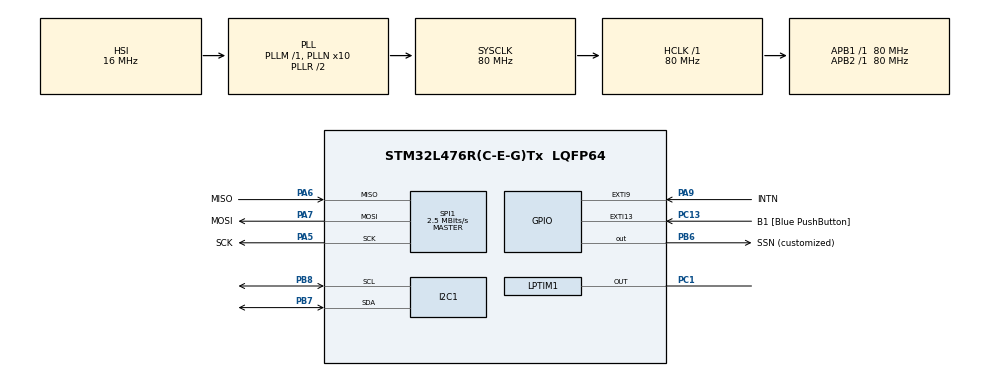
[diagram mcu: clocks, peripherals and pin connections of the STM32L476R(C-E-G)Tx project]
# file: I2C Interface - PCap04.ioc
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I2C1.Timing=0x10909CEC
LPTIM1.ClockPrescaler=LPTIM_PRESCALER_DIV1
LPTIM1.UpdateMode=LPTIM_UPDATE_IMMEDIATE
Mcu.Family=STM32L4
Mcu.Name=STM32L476R(C-E-G)Tx
Mcu.Package=LQFP64
NVIC.EXTI9_5_IRQn=true\:0\:0\:false\:false\:true\:true\:true
NVIC.PriorityGroup=NVIC_PRIORITYGROUP_4
PA13\ (JTMS-SWDIO).GPIO_Label=TMS
PA13\ (JTMS-SWDIO).Mode=Serial_Wire
PA13\ (JTMS-SWDIO).Signal=SYS_JTMS-SWDIO
PA14\ (JTCK-SWCLK).GPIO_Label=TCK
PA14\ (JTCK-SWCLK).Mode=Serial_Wire
PA14\ (JTCK-SWCLK).Signal=SYS_JTCK-SWCLK
PA2.GPIO_Label=USART_TX
PA2.GPIO_Mode=GPIO_MODE_AF_PP
PA2.GPIO_PuPd=GPIO_NOPULL
PA2.GPIO_Speed=GPIO_SPEED_FREQ_VERY_HIGH
PA2.Signal=USART2_TX
PA3.GPIO_Label=USART_RX
PA3.GPIO_Mode=GPIO_MODE_AF_PP
PA3.GPIO_PuPd=GPIO_NOPULL
PA3.GPIO_Speed=GPIO_SPEED_FREQ_VERY_HIGH
PA3.Signal=USART2_RX
PA5.GPIO_Label=SCK
PA5.GPIO_PuPd=GPIO_NOPULL
PA5.GPIO_Speed=GPIO_SPEED_FREQ_VERY_HIGH
PA5.Mode=Full_Duplex_Master
PA5.Signal=SPI1_SCK
PA6.GPIO_Label=MISO
PA6.Mode=Full_Duplex_Master
PA6.Signal=SPI1_MISO
PA7.GPIO_Label=MOSI
PA7.Mode=Full_Duplex_Master
PA7.Signal=SPI1_MOSI
PA9.GPIO_Label=INTN
PA9.GPIO_ModeDefaultEXTI=GPIO_MODE_IT_FALLING
PA9.Signal=GPXTI9
PB3\ (JTDO-TRACESWO).GPIO_Label=SWO
PB3\ (JTDO-TRACESWO).Signal=SYS_JTDO-SWO
PB6.GPIO_FM6=__NULL
PB6.GPIO_Label=SSN (customized)
PB6.GPIO_PuPd=GPIO_PULLUP
PB6.GPIO_Speed=GPIO_SPEED_FREQ_VERY_HIGH
PB6.Signal=GPIO_Output
PB7.GPIO_PuPdOD=GPIO_PULLUP
PB7.GPIO_Speed=GPIO_SPEED_FREQ_HIGH
PB7.Mode=I2C
PB7.Signal=I2C1_SDA
PB8.GPIO_PuPdOD=GPIO_PULLUP
PB8.GPIO_Speed=GPIO_SPEED_FREQ_HIGH
PB8.Mode=I2C
PB8.Signal=I2C1_SCL
PC1.GPIO_PuPd=GPIO_NOPULL
PC1.Mode=WaveformGeneration
PC1.Signal=LPTIM1_OUT
PC13.GPIO_Label=B1 [Blue PushButton]
PC13.GPIO_ModeDefaultEXTI=GPIO_MODE_IT_FALLING
PC13.GPIO_PuPd=GPIO_NOPULL
PC13.Signal=GPXTI13
PC14-OSC32_IN\ (PC14).Mode=LSE-External-Oscillator
PC14-OSC32_IN\ (PC14).Signal=RCC_OSC32_IN
PC15-OSC32_OUT\ (PC15).Mode=LSE-External-Oscillator
PC15-OSC32_OUT\ (PC15).Signal=RCC_OSC32_OUT
PH0-OSC_IN\ (PH0).Signal=RCC_OSC_IN
PH1-OSC_OUT\ (PH1).Signal=RCC_OSC_OUT
ProjectManager.HeapSize=0x200
ProjectManager.StackSize=0x400
ProjectManager.TargetToolchain=STM32CubeIDE
RCC.ADCFreq_Value=64000000
RCC.AHBFreq_Value=80000000
RCC.APB1Freq_Value=80000000
RCC.APB1TimFreq_Value=80000000
RCC.APB2Freq_Value=80000000
RCC.APB2TimFreq_Value=80000000
RCC.CortexFreq_Value=80000000
RCC.HCLKFreq_Value=80000000
RCC.HSE_VALUE=8000000
RCC.HSI_VALUE=16000000
RCC.MSI_VALUE=4000000
RCC.PLLN=10
RCC.PLLSourceVirtual=RCC_PLLSOURCE_HSI
RCC.PREFETCH_ENABLE=1
RCC.SYSCLKFreq_VALUE=80000000
RCC.SYSCLKSource=RCC_SYSCLKSOURCE_PLLCLK
RCC.USBFreq_Value=64000000
RCC.VCOOutputFreq_Value=160000000
SPI1.BaudRatePrescaler=SPI_BAUDRATEPRESCALER_32
SPI1.CLKPhase=SPI_PHASE_2EDGE
SPI1.CalculateBaudRate=2.5 MBits/s
SPI1.DataSize=SPI_DATASIZE_8BIT
SPI1.Direction=SPI_DIRECTION_2LINES
SPI1.Mode=SPI_MODE_MASTER
SPI1.TIMode=SPI_TIMODE_DISABLE
SPI1.VirtualType=VM_MASTER
VP_LPTIM1_VS_LPTIM_counterModeInternalClock.Mode=Counts__internal_clock_event_00
board=NUCLEO-L476RG

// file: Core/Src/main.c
/* USER CODE BEGIN Header */
/**
  ******************************************************************************
  * @file           : main.c
  * @brief          : Main program body
  ******************************************************************************
  * @attention
  *
  * <h2><center>&copy; Copyright (c) 2020 STMicroelectronics.
  * All rights reserved.</center></h2>
  *
  * This software component is licensed by ST under BSD 3-Clause license,
  * the "License"; You may not use this file except in compliance with the
  * License. You may obtain a copy of the License at:
  *                        opensource.org/licenses/BSD-3-Clause
  *
  ******************************************************************************
  */
/* USER CODE END Header */

#include "main.h"

/* USER CODE BEGIN Includes */
#include "user_i2c_interface.h"

/* USER CODE END Includes */

/* USER CODE BEGIN PD */
#define WR_MEM 		0xA0
#define RD_MEM 		0x20
#define WR_CONFIG 	0xA3C0	//byte wise
#define RD_CONFIG 	0x23C0	//byte wise
#define RD_RESULT 	0x40

#define POR 		0x88
#define INIT 		0x8A
#define CDC_START 	0x8C
#define RDC_START 	0x8E
#define DSP_TRIG 	0x8D
#define NV_STORE 	0x96
#define NV_RECALL 	0x99
#define NV_ERASE 	0x9C
#define TEST_READ 	0x7E
/* USER CODE END PD */

I2C_HandleTypeDef hi2c1;

LPTIM_HandleTypeDef hlptim1;

SPI_HandleTypeDef hspi1;

/* USER CODE BEGIN PV */

HAL_StatusTypeDef ret = HAL_OK;

volatile uint16_t dev_addr = 0x50;
volatile uint32_t MyResult = 0;
volatile uint32_t MyRES0 = 0;
volatile uint32_t MyRES1 = 0;
volatile uint32_t MyRES2 = 0;

uint32_t My_i2c_timeout = 10;
uint8_t My_buf[256] = {0x99,0x22};
uint32_t My_ratio = 0;

uint32_t bending_cfg[13] = {
		0x1038111D,
		0x08110CA0,
		0x0007D000,
		0x04000427,
		0x00005427,
		0x340BFF00,
		0x08520077,
		0x0881005A,
		0x40470008,
		0x71000000,
		0x00080000,
		0x01000000,
		0x00000000

};

//read triggered configuration
uint8_t bending_cfg_bytewise[52] = {
		0x1D, 0x11, 0x38, 0x10,
		0xA0, 0x0C, 0x11, 0x08,
		0x00, 0xD0, 0x07, 0x00,
		0x27, 0x04, 0x00, 0x04,
		0x27, 0x54, 0x00, 0x00,
		0x00, 0xFF, 0x0B, 0x34,
		0x77, 0x00, 0x52, 0x08,
		0x5A, 0x00, 0x81, 0x08,
		0x08, 0x00, 0x47, 0x40,
		0x00, 0x00, 0x00, 0x71,
		0x00, 0x00, 0x08, 0x00,
		0x00, 0x00, 0x00, 0x01,
		0x00, 0x00, 0x00, 0x00
};

uint8_t standard_cfg_bytewise[52] = {
		0x1D, 0x00, 0x58, 0x10,
		0x10, 0x00, 0x0F, 0x20,
		0x00, 0xD0, 0x07, 0x00,
		0x00, 0x08, 0xFF, 0x03,
		0x00, 0x24, 0x00, 0x00,
		0x00, 0x01, 0x50, 0x30,
		0x73, 0x04, 0x50, 0x08,
		0x5A, 0x00, 0x82, 0x08,
		0x08, 0x00, 0x47, 0x40,
		0x00, 0x00, 0x00, 0x71,
		0x00, 0x00, 0x08, 0x00,
		0x00, 0x00, 0x00, 0x01,
		0x00, 0x00, 0x00, 0x00
};

uint8_t bending_fw[167] = {
		0x24, 0x05, 0x7A, 0xC3, 0xFF, 0xE6, 0x43, 0x7A, 0xE0, 0x34, 0x00, 0x7A, 0xE7, 0x43, 0x41, 0xA0,
		0x01, 0x20, 0x80, 0x7A, 0xD8, 0x41, 0x7A, 0xE1, 0x45, 0x7A, 0xDC, 0x41, 0x7A, 0xE2, 0x45, 0x7A,
		0xDE, 0x41, 0x20, 0x95, 0x7A, 0xE3, 0x45, 0x7A, 0xD8, 0x41, 0x7A, 0xDE, 0x52, 0x7A, 0xE4, 0x45,
		0x7A, 0xDC, 0x41, 0x7A, 0xDE, 0x52, 0x7A, 0xE5, 0x45, 0x7A, 0xD8, 0x41, 0x7A, 0xDE, 0x5A, 0x7A,
		0xE4, 0x7A, 0xE6, 0x45, 0x7A, 0xDC, 0x41, 0x7A, 0xDE, 0x5A, 0x7A, 0xE7, 0x45, 0x7A, 0xD8, 0x41,
		0x7A, 0xDC, 0x5A, 0x7A, 0xE8, 0x45, 0xC1, 0xD8, 0x24, 0x3E, 0x84, 0x2C, 0x7A, 0xD4, 0x43, 0x7A,
		0xE5, 0x44, 0x7A, 0xD5, 0x43, 0x7A, 0xE6, 0x44, 0x7A, 0xD6, 0x43, 0x7A, 0xE7, 0x44, 0x7A, 0xD7,
		0x43, 0x7A, 0xE8, 0x44, 0xC1, 0xD4, 0x24, 0x57, 0x7A, 0xC8, 0xE1, 0x43, 0xE0, 0x3A, 0x92, 0x08,
		0x7A, 0xC0, 0xE1, 0x43, 0x7A, 0xE0, 0x3A, 0x02, 0x01, 0x90, 0x00, 0x7F, 0x66, 0x67, 0x76, 0x77,
		0x66, 0x99, 0xFD, 0x7B, 0x01, 0xC0, 0xCF, 0xDF, 0x27, 0x0C, 0x6A, 0xCE, 0x41, 0x6A, 0xCF, 0x52,
		0x52, 0x6A, 0xD0, 0x52, 0x47, 0x47, 0x02
};

uint8_t standard_fw[548] = {
		0x24, 0x05, 0xA0, 0x01, 0x20, 0x55, 0x42, 0x5C, 0x48, 0xB1, 0x07, 0x92, 0x02, 0x20, 0x13, 0x02,
		0x20, 0x93, 0x02, 0xB2, 0x02, 0x78, 0x20, 0x54, 0xB3, 0x06, 0x91, 0x00, 0x7F, 0x20, 0x86, 0x20,
		0x54, 0xB6, 0x03, 0x72, 0x62, 0x20, 0x54, 0xB7, 0x00, 0x00, 0x42, 0x5C, 0xA1, 0x00, 0x49, 0xB0,
		0x00, 0x49, 0x40, 0xAB, 0x5D, 0x92, 0x1C, 0x90, 0x02, 0x7F, 0x20, 0x86, 0x66, 0x67, 0x76, 0x77,
		0x66, 0x7A, 0xCF, 0xCD, 0xE6, 0x43, 0xF1, 0x44, 0x29, 0xE0, 0x7A, 0xDC, 0xE7, 0x41, 0x32, 0xAA,
		0x01, 0x99, 0xFD, 0x7B, 0x01, 0x7A, 0xCF, 0xEB, 0xE6, 0x43, 0xF1, 0x44, 0x29, 0xE0, 0x7A, 0xC1,
		0xE7, 0x41, 0x32, 0x6A, 0xDE, 0x44, 0x7A, 0xCF, 0xEA, 0xE6, 0x43, 0xF1, 0x44, 0x29, 0xE0, 0x6A,
		0xDF, 0x44, 0x7A, 0xC4, 0xE7, 0x41, 0x32, 0xAB, 0x05, 0x7A, 0xC1, 0xE1, 0x43, 0xE0, 0x3A, 0x7A,
		0xC0, 0xE1, 0x43, 0xE0, 0x3A, 0x02, 0x7A, 0xCF, 0xE6, 0xE6, 0x43, 0xF1, 0x44, 0x29, 0xE0, 0x7A,
		0xEF, 0x44, 0x02, 0x20, 0x9D, 0x84, 0x01, 0x21, 0x2E, 0x21, 0x74, 0x20, 0x37, 0xC8, 0x7A, 0xE7,
		0x43, 0x49, 0x11, 0x6A, 0xD4, 0x44, 0x7A, 0xC1, 0xD8, 0xE6, 0x43, 0xE9, 0x44, 0x1C, 0x43, 0x13,
		0xAB, 0x63, 0x6A, 0xDE, 0x41, 0xAB, 0x0B, 0x46, 0x46, 0x46, 0x7A, 0xDF, 0xFF, 0xFF, 0xFF, 0xFF,
		0xE3, 0x41, 0x32, 0x1C, 0x44, 0xE9, 0x13, 0x6A, 0xD4, 0x13, 0x41, 0xAA, 0xDF, 0x7A, 0xC5, 0xE1,
		0x43, 0x49, 0xE0, 0x34, 0x7A, 0xCF, 0xE3, 0xE6, 0x43, 0xF1, 0x44, 0x29, 0xE0, 0xDB, 0xC0, 0x27,
		0xE5, 0x6A, 0xDF, 0x43, 0x7A, 0xC8, 0xE7, 0x41, 0x30, 0xAB, 0x03, 0x86, 0x01, 0x92, 0x37, 0x7A,
		0xC6, 0xE7, 0x41, 0x7A, 0xFA, 0xE7, 0x43, 0xEA, 0x44, 0x7A, 0xC1, 0xE1, 0xE6, 0x43, 0xE9, 0x44,
		0x25, 0xE0, 0x7A, 0xC6, 0xE7, 0x41, 0x7A, 0xFA, 0xE7, 0x43, 0xEA, 0x44, 0x7A, 0xC0, 0xE7, 0x43,
		0xE9, 0x44, 0x25, 0xE0, 0x92, 0x10, 0x7A, 0xE1, 0x44, 0xE2, 0x44, 0xE3, 0x44, 0xE4, 0x44, 0xE5,
		0x44, 0xE6, 0x44, 0xE7, 0x44, 0xE8, 0x44, 0xC1, 0xD8, 0x24, 0x3E, 0x92, 0xFF, 0x02, 0x7A, 0xCF,
		0xD7, 0xE6, 0x43, 0xF1, 0x44, 0x7A, 0xD0, 0xE7, 0x43, 0x2A, 0x2A, 0x32, 0xAB, 0x03, 0x42, 0x5C,
		0x92, 0x03, 0x7A, 0xC0, 0xE1, 0x43, 0xD9, 0x27, 0x90, 0x6A, 0xDF, 0x43, 0x7A, 0xC8, 0xE7, 0x41,
		0x32, 0xAB, 0x03, 0x86, 0x01, 0x92, 0x11, 0x7A, 0xC2, 0x43, 0x7A, 0xE7, 0x44, 0x6A, 0xC6, 0x44,
		0x7A, 0xC3, 0x43, 0x7A, 0xE8, 0x44, 0x6A, 0xC7, 0x44, 0xC1, 0xD4, 0x24, 0x57, 0x7A, 0xC8, 0xE1,
		0x43, 0xE0, 0x3A, 0x02, 0x7A, 0xCF, 0xE7, 0xE6, 0x43, 0xF1, 0x44, 0x29, 0xE0, 0x7A, 0xC7, 0xE1,
		0x41, 0x6A, 0xD4, 0x45, 0x5A, 0x25, 0x36, 0x46, 0x46, 0x46, 0x46, 0x7A, 0xE9, 0x44, 0x7A, 0xC0,
		0xE7, 0x43, 0x55, 0x7A, 0xEA, 0x45, 0x7A, 0xE9, 0x51, 0x1C, 0x43, 0x6A, 0xCA, 0x44, 0x1D, 0x43,
		0x6A, 0xCB, 0x44, 0x7A, 0xC1, 0xCA, 0xE6, 0x43, 0xE9, 0x44, 0x7A, 0xC1, 0xE1, 0x43, 0x7A, 0xCC,
		0xE0, 0xE6, 0x41, 0x2C, 0x42, 0x7A, 0xC5, 0xE1, 0x43, 0x49, 0xE0, 0x34, 0x7A, 0xC1, 0xCC, 0xE6,
		0x43, 0xE9, 0x44, 0x7A, 0xC1, 0xE1, 0x43, 0x2C, 0x70, 0x7A, 0xCC, 0x43, 0x7A, 0xCF, 0x44, 0x7A,
		0xCD, 0x43, 0x7A, 0xCE, 0x44, 0x6A, 0xCA, 0x43, 0xC1, 0xCA, 0x7A, 0xE6, 0x41, 0xE9, 0x45, 0x2B,
		0xAE, 0xEE, 0x44, 0x7A, 0xC1, 0xCA, 0xE6, 0x43, 0xE9, 0x44, 0x7A, 0xC1, 0xE1, 0x43, 0x7A, 0xCC,
		0xEC, 0xE6, 0x41, 0x2C, 0x42, 0x7A, 0xC5, 0xE1, 0x43, 0x49, 0xE0, 0x34, 0x7A, 0xC1, 0xCC, 0xE6,
		0x43, 0xE9, 0x44, 0x7A, 0xC1, 0xE1, 0x43, 0x2C, 0x70, 0x7A, 0xCC, 0x43, 0x7A, 0xCF, 0x44, 0x7A,
		0xCD, 0x43, 0x7A, 0xCE, 0x44, 0x6A, 0xCB, 0x43, 0xC1, 0xCA, 0x7A, 0xE6, 0x41, 0xE9, 0x45, 0x2B,
		0xAE, 0xED, 0x44, 0x02
};

/* USER CODE END PV */

void SystemClock_Config(void);
static void MX_GPIO_Init(void);
static void MX_SPI1_Init(void);
static void MX_LPTIM1_Init(void);
static void MX_I2C1_Init(void);

int main(void)
{

  /* MCU Configuration--------------------------------------------------------*/

  /* Reset of all peripherals, Initializes the Flash interface and the Systick. */
  HAL_Init();

  /* Configure the system clock */
  SystemClock_Config();

  /* Initialize all configured peripherals */
  MX_GPIO_Init();
  MX_SPI1_Init();
  MX_LPTIM1_Init();
  MX_I2C1_Init();
  /* USER CODE BEGIN 2 */

  // Test I2C Communication Interface by sending Test Opcode
  ret = I2C_Write_Opcode(dev_addr, TEST_READ);
  ret = HAL_I2C_Master_Receive(&hi2c1, dev_addr, My_buf, 1, 1);

  // POR + INIT
  ret = I2C_Write_Opcode(dev_addr, POR);
  HAL_Delay(500);
  ret = I2C_Write_Opcode(dev_addr, INIT);

  // write firmware (10x 16 Bytes plus 7 Bytes)
  //ret = I2C_Memory_Access(dev_addr, WR_MEM, 0x00, bending_fw, 167);
  ret = I2C_Memory_Access(dev_addr, WR_MEM, 0x00, standard_fw, 548);

  ret = I2C_Memory_Access(dev_addr, RD_MEM, 0x00, My_buf, 167);

  // write configuration (52 Bytes)
 // ret = I2C_Config_Access(dev_addr, WR_CONFIG, 0x00, bending_cfg_bytewise, 52);
  ret = I2C_Config_Access(dev_addr, WR_CONFIG, 0x00, standard_cfg_bytewise, 52);

  //deactivate PC input ports
  //ret = I2C_Config_Access(dev_addr, WR_CONFIG, 0x06, 0x00, 1);

  ret = I2C_Config_Access(dev_addr, RD_CONFIG, 0x00, My_buf, 52);

  ret = I2C_Write_Opcode(dev_addr, INIT);

  // start CDC measurement
  ret = I2C_Write_Opcode(dev_addr, 0x8C);

  /* USER CODE END 2 */

  /* Infinite loop */
  while (1)
  {

    /* USER CODE BEGIN 3 */

	// read result register
	MyRES0 = I2C_Read_Result(dev_addr, 0x40, 0x00);
	MyRES1 = I2C_Read_Result(dev_addr, 0x40, 0x01);

	//internal Reference at RES2
	MyResult = I2C_Read_Result(dev_addr, 0x40, 0x02);

	HAL_Delay(20);

  }
  /* USER CODE END 3 */
}

void SystemClock_Config(void)
{
  RCC_OscInitTypeDef RCC_OscInitStruct = {0};
  RCC_ClkInitTypeDef RCC_ClkInitStruct = {0};
  RCC_PeriphCLKInitTypeDef PeriphClkInit = {0};

  /** Initializes the CPU, AHB and APB busses clocks
  */
  RCC_OscInitStruct.OscillatorType = RCC_OSCILLATORTYPE_HSI;
  RCC_OscInitStruct.HSIState = RCC_HSI_ON;
  RCC_OscInitStruct.HSICalibrationValue = RCC_HSICALIBRATION_DEFAULT;
  RCC_OscInitStruct.PLL.PLLState = RCC_PLL_ON;
  RCC_OscInitStruct.PLL.PLLSource = RCC_PLLSOURCE_HSI;
  RCC_OscInitStruct.PLL.PLLM = 1;
  RCC_OscInitStruct.PLL.PLLN = 10;
  RCC_OscInitStruct.PLL.PLLP = RCC_PLLP_DIV7;
  RCC_OscInitStruct.PLL.PLLQ = RCC_PLLQ_DIV2;
  RCC_OscInitStruct.PLL.PLLR = RCC_PLLR_DIV2;
  if (HAL_RCC_OscConfig(&RCC_OscInitStruct) != HAL_OK)
  {
    Error_Handler();
  }
  /** Initializes the CPU, AHB and APB busses clocks
  */
  RCC_ClkInitStruct.ClockType = RCC_CLOCKTYPE_HCLK|RCC_CLOCKTYPE_SYSCLK
                              |RCC_CLOCKTYPE_PCLK1|RCC_CLOCKTYPE_PCLK2;
  RCC_ClkInitStruct.SYSCLKSource = RCC_SYSCLKSOURCE_PLLCLK;
  RCC_ClkInitStruct.AHBCLKDivider = RCC_SYSCLK_DIV1;
  RCC_ClkInitStruct.APB1CLKDivider = RCC_HCLK_DIV1;
  RCC_ClkInitStruct.APB2CLKDivider = RCC_HCLK_DIV1;

  if (HAL_RCC_ClockConfig(&RCC_ClkInitStruct, FLASH_LATENCY_4) != HAL_OK)
  {
    Error_Handler();
  }
  PeriphClkInit.PeriphClockSelection = RCC_PERIPHCLK_LPTIM1|RCC_PERIPHCLK_I2C1;
  PeriphClkInit.I2c1ClockSelection = RCC_I2C1CLKSOURCE_PCLK1;
  PeriphClkInit.Lptim1ClockSelection = RCC_LPTIM1CLKSOURCE_PCLK;
  if (HAL_RCCEx_PeriphCLKConfig(&PeriphClkInit) != HAL_OK)
  {
    Error_Handler();
  }
  /** Configure the main internal regulator output voltage
  */
  if (HAL_PWREx_ControlVoltageScaling(PWR_REGULATOR_VOLTAGE_SCALE1) != HAL_OK)
  {
    Error_Handler();
  }
}

static void MX_I2C1_Init(void)
{

  hi2c1.Instance = I2C1;
  hi2c1.Init.Timing = 0x10909CEC;
  hi2c1.Init.OwnAddress1 = 0;
  hi2c1.Init.AddressingMode = I2C_ADDRESSINGMODE_7BIT;
  hi2c1.Init.DualAddressMode = I2C_DUALADDRESS_DISABLE;
  hi2c1.Init.OwnAddress2 = 0;
  hi2c1.Init.OwnAddress2Masks = I2C_OA2_NOMASK;
  hi2c1.Init.GeneralCallMode = I2C_GENERALCALL_DISABLE;
  hi2c1.Init.NoStretchMode = I2C_NOSTRETCH_DISABLE;
  if (HAL_I2C_Init(&hi2c1) != HAL_OK)
  {
    Error_Handler();
  }
  /** Configure Analogue filter
  */
  if (HAL_I2CEx_ConfigAnalogFilter(&hi2c1, I2C_ANALOGFILTER_ENABLE) != HAL_OK)
  {
    Error_Handler();
  }
  /** Configure Digital filter
  */
  if (HAL_I2CEx_ConfigDigitalFilter(&hi2c1, 0) != HAL_OK)
  {
    Error_Handler();
  }

}

static void MX_LPTIM1_Init(void)
{

  hlptim1.Instance = LPTIM1;
  hlptim1.Init.Clock.Source = LPTIM_CLOCKSOURCE_APBCLOCK_LPOSC;
  hlptim1.Init.Clock.Prescaler = LPTIM_PRESCALER_DIV1;
  hlptim1.Init.Trigger.Source = LPTIM_TRIGSOURCE_SOFTWARE;
  hlptim1.Init.OutputPolarity = LPTIM_OUTPUTPOLARITY_HIGH;
  hlptim1.Init.UpdateMode = LPTIM_UPDATE_IMMEDIATE;
  hlptim1.Init.CounterSource = LPTIM_COUNTERSOURCE_INTERNAL;
  hlptim1.Init.Input1Source = LPTIM_INPUT1SOURCE_GPIO;
  hlptim1.Init.Input2Source = LPTIM_INPUT2SOURCE_GPIO;
  if (HAL_LPTIM_Init(&hlptim1) != HAL_OK)
  {
    Error_Handler();
  }

}

static void MX_SPI1_Init(void)
{

  /* SPI1 parameter configuration*/
  hspi1.Instance = SPI1;
  hspi1.Init.Mode = SPI_MODE_MASTER;
  hspi1.Init.Direction = SPI_DIRECTION_2LINES;
  hspi1.Init.DataSize = SPI_DATASIZE_8BIT;
  hspi1.Init.CLKPolarity = SPI_POLARITY_LOW;
  hspi1.Init.CLKPhase = SPI_PHASE_2EDGE;
  hspi1.Init.NSS = SPI_NSS_SOFT;
  hspi1.Init.BaudRatePrescaler = SPI_BAUDRATEPRESCALER_32;
  hspi1.Init.FirstBit = SPI_FIRSTBIT_MSB;
  hspi1.Init.TIMode = SPI_TIMODE_DISABLE;
  hspi1.Init.CRCCalculation = SPI_CRCCALCULATION_DISABLE;
  hspi1.Init.CRCPolynomial = 7;
  hspi1.Init.CRCLength = SPI_CRC_LENGTH_DATASIZE;
  hspi1.Init.NSSPMode = SPI_NSS_PULSE_DISABLE;
  if (HAL_SPI_Init(&hspi1) != HAL_OK)
  {
    Error_Handler();
  }

}

static void MX_GPIO_Init(void)
{
  GPIO_InitTypeDef GPIO_InitStruct = {0};

  /* GPIO Ports Clock Enable */
  __HAL_RCC_GPIOC_CLK_ENABLE();
  __HAL_RCC_GPIOH_CLK_ENABLE();
  __HAL_RCC_GPIOA_CLK_ENABLE();
  __HAL_RCC_GPIOB_CLK_ENABLE();

  /*Configure GPIO pin Output Level */
  HAL_GPIO_WritePin(SSN_GPIO_Port, SSN_Pin, GPIO_PIN_RESET);

  /*Configure GPIO pin : B1_Pin */
  GPIO_InitStruct.Pin = B1_Pin;
  GPIO_InitStruct.Mode = GPIO_MODE_IT_FALLING;
  GPIO_InitStruct.Pull = GPIO_NOPULL;
  HAL_GPIO_Init(B1_GPIO_Port, &GPIO_InitStruct);

  /*Configure GPIO pins : USART_TX_Pin USART_RX_Pin */
  GPIO_InitStruct.Pin = USART_TX_Pin|USART_RX_Pin;
  GPIO_InitStruct.Mode = GPIO_MODE_AF_PP;
  GPIO_InitStruct.Pull = GPIO_NOPULL;
  GPIO_InitStruct.Speed = GPIO_SPEED_FREQ_VERY_HIGH;
  GPIO_InitStruct.Alternate = GPIO_AF7_USART2;
  HAL_GPIO_Init(GPIOA, &GPIO_InitStruct);

  /*Configure GPIO pin : INTN_Pin */
  GPIO_InitStruct.Pin = INTN_Pin;
  GPIO_InitStruct.Mode = GPIO_MODE_IT_FALLING;
  GPIO_InitStruct.Pull = GPIO_NOPULL;
  HAL_GPIO_Init(INTN_GPIO_Port, &GPIO_InitStruct);

  /*Configure GPIO pin : SSN_Pin */
  GPIO_InitStruct.Pin = SSN_Pin;
  GPIO_InitStruct.Mode = GPIO_MODE_OUTPUT_PP;
  GPIO_InitStruct.Pull = GPIO_PULLUP;
  GPIO_InitStruct.Speed = GPIO_SPEED_FREQ_VERY_HIGH;
  HAL_GPIO_Init(SSN_GPIO_Port, &GPIO_InitStruct);

  /* EXTI interrupt init*/
  HAL_NVIC_SetPriority(EXTI9_5_IRQn, 0, 0);
  HAL_NVIC_EnableIRQ(EXTI9_5_IRQn);

}

void Error_Handler(void)
{
  /* USER CODE BEGIN Error_Handler_Debug */
  /* User can add his own implementation to report the HAL error return state */

	uint16_t i2c_error_code = 0;
	i2c_error_code = HAL_I2C_GetError(&hi2c1);

	if(i2c_error_code == HAL_I2C_ERROR_NONE)      {
		printf("!< No error              */");
	}
	if(i2c_error_code == HAL_I2C_ERROR_BERR)      {
		printf("!< BERR error            */");
	}
	if(i2c_error_code == HAL_I2C_ERROR_ARLO)      {
		printf("!< ARLO error            */");
	}
	if(i2c_error_code == HAL_I2C_ERROR_AF)        {
		printf("*!< ACKF error            */");
	}
	if(i2c_error_code == HAL_I2C_ERROR_OVR)       {
		printf("*!< OVR error             */");
	}
	if(i2c_error_code == HAL_I2C_ERROR_DMA)       {
		printf("*!< DMA transfer error    */");
	}
	if(i2c_error_code == HAL_I2C_ERROR_TIMEOUT)   {
		printf("*!< Timeout error         */");
	}
	if(i2c_error_code == HAL_I2C_ERROR_SIZE)      {
		printf("*!< Size Management error */");
	}
	if(i2c_error_code == HAL_I2C_ERROR_DMA_PARAM) {
		printf("!< DMA Parameter Error   */");
	}

  /* USER CODE END Error_Handler_Debug */
}

/************************ (C) COPYRIGHT STMicroelectronics *****END OF FILE****/
